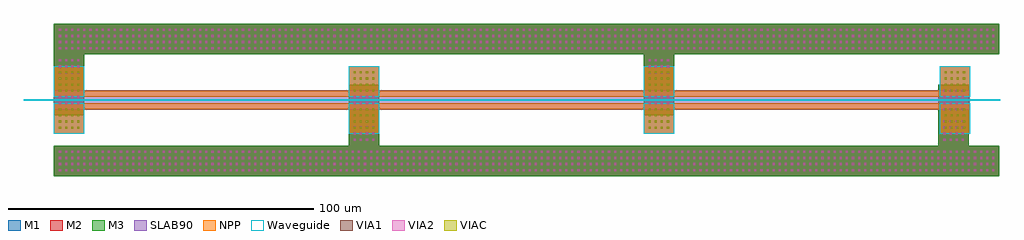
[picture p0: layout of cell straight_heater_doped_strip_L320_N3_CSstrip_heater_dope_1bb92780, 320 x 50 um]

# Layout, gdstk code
import gdstk
lib = gdstk.Library(unit=1e-6, precision=1e-09)
def R(c, l, rs):  # rectangles x0, y0, x1, y1
    for r in rs: c.add(gdstk.rectangle(r[:2], r[2:], *l))
def A(c, l, x, y, w, h, nx, ny, dx, dy):  # array of equal rectangles
    R(c, l, [(x+i*dx, y+j*dy, x+i*dx+w, y+j*dy+h) for i in range(nx) for j in range(ny)])
def P(c, l, *ps):  # polygons
    for p in ps: c.add(gdstk.Polygon(p, *l))
Waveguide = (1, 0)
SLAB90 = (3, 0)
NPP = (24, 0)
VIAC = (40, 0)
M1 = (41, 0)
VIA2 = (43, 0)
VIA1 = (44, 0)
M2 = (45, 0)
M3 = (49, 0)

straight_heater_doped_st = lib.new_cell('straight_heater_doped_strip_L320_N3_CSstrip_heater_dope_1bb92780')
A(straight_heater_doped_st, Waveguide, -0.2, -11.05, 10, 10, 3, 2, 96.667, 12.1)
R(straight_heater_doped_st, Waveguide, [(290.201,-11.05,300.201,-1.05), (-10,-0.25,310,0.25), (290.201,1.05,300.201,11.05)])
R(straight_heater_doped_st, SLAB90, [(0,-3.25,300,3.25)])
P(straight_heater_doped_st, NPP, [(-0.2,-11.05),(-0.2,-1.05),(300.201,-1.05),(300.201,-11.05),(290.201,-11.05),(290.201,-3.05),(203.134,-3.05),(203.134,-11.05),(193.134,-11.05),(193.134,-3.05),(106.467,-3.05),(106.467,-11.05),(96.467,-11.05),(96.467,-3.05),(9.8,-3.05),(9.8,-11.05)],
  [(-0.2,1.05),(-0.2,11.05),(9.8,11.05),(9.8,3.05),(96.467,3.05),(96.467,11.05),(106.467,11.05),(106.467,3.05),(193.134,3.05),(193.134,11.05),(203.134,11.05),(203.134,3.05),(290.201,3.05),(290.201,11.05),(300.201,11.05),(300.201,1.05)])
A(straight_heater_doped_st, VIAC, 1.45, -9.4, 0.7, 0.7, 4, 4, 2, 2)
A(straight_heater_doped_st, VIAC, 98.117, -9.4, 0.7, 0.7, 4, 4, 2, 2)
A(straight_heater_doped_st, VIAC, 194.784, -9.4, 0.7, 0.7, 4, 4, 2, 2)
A(straight_heater_doped_st, VIAC, 291.851, -9.4, 0.7, 0.7, 4, 4, 2, 2)
A(straight_heater_doped_st, VIAC, 1.45, 2.7, 0.7, 0.7, 4, 4, 2, 2)
A(straight_heater_doped_st, VIAC, 98.117, 2.7, 0.7, 0.7, 4, 4, 2, 2)
A(straight_heater_doped_st, VIAC, 194.784, 2.7, 0.7, 0.7, 4, 4, 2, 2)
A(straight_heater_doped_st, VIAC, 291.851, 2.7, 0.7, 0.7, 4, 4, 2, 2)
P(straight_heater_doped_st, M1, [(-0.2,-25),(-0.2,-15),(96.467,-15),(96.467,11.05),(106.467,11.05),(106.467,-15),(289.801,-15),(289.801,5),(290.201,5),(290.201,11.05),(300.201,11.05),(300.201,1.05),(299.801,1.05),(299.801,-1.05),(300.201,-1.05),(300.201,-11.05),(299.801,-11.05),(299.801,-15),(309.8,-15),(309.8,-25)],
  [(-0.2,-11.05),(-0.2,25),(309.8,25),(309.8,15),(203.134,15),(203.134,-11.05),(193.134,-11.05),(193.134,15),(9.8,15),(9.8,-11.05)])
A(straight_heater_doped_st, VIA2, 1.45, -23.35, 0.7, 0.7, 154, 4, 2, 2)
A(straight_heater_doped_st, VIA2, 98.117, -13.35, 0.7, 0.7, 4, 4, 2, 2)
A(straight_heater_doped_st, VIA2, 291.451, -13.35, 0.7, 0.7, 4, 4, 2, 2)
A(straight_heater_doped_st, VIA2, 1.45, -3.35, 0.7, 0.7, 4, 4, 2, 2)
A(straight_heater_doped_st, VIA2, 98.117, -3.35, 0.7, 0.7, 4, 4, 2, 2)
A(straight_heater_doped_st, VIA2, 194.784, -3.35, 0.7, 0.7, 4, 4, 2, 2)
A(straight_heater_doped_st, VIA2, 291.451, -3.35, 0.7, 0.7, 4, 4, 2, 2)
A(straight_heater_doped_st, VIA2, 1.45, 6.65, 0.7, 0.7, 4, 4, 2, 2)
A(straight_heater_doped_st, VIA2, 194.784, 6.65, 0.7, 0.7, 4, 4, 2, 2)
A(straight_heater_doped_st, VIA2, 1.45, 16.65, 0.7, 0.7, 154, 4, 2, 2)
A(straight_heater_doped_st, VIA1, 1.45, -23.35, 0.7, 0.7, 154, 4, 2, 2)
A(straight_heater_doped_st, VIA1, 98.117, -13.35, 0.7, 0.7, 4, 4, 2, 2)
A(straight_heater_doped_st, VIA1, 291.451, -13.35, 0.7, 0.7, 4, 4, 2, 2)
A(straight_heater_doped_st, VIA1, 1.45, -3.35, 0.7, 0.7, 4, 4, 2, 2)
A(straight_heater_doped_st, VIA1, 98.117, -3.35, 0.7, 0.7, 4, 4, 2, 2)
A(straight_heater_doped_st, VIA1, 194.784, -3.35, 0.7, 0.7, 4, 4, 2, 2)
A(straight_heater_doped_st, VIA1, 291.451, -3.35, 0.7, 0.7, 4, 4, 2, 2)
A(straight_heater_doped_st, VIA1, 1.45, 6.65, 0.7, 0.7, 4, 4, 2, 2)
A(straight_heater_doped_st, VIA1, 194.784, 6.65, 0.7, 0.7, 4, 4, 2, 2)
A(straight_heater_doped_st, VIA1, 1.45, 16.65, 0.7, 0.7, 154, 4, 2, 2)
P(straight_heater_doped_st, M2, [(-0.2,-25),(-0.2,-15),(96.467,-15),(96.467,5),(106.467,5),(106.467,-15),(289.801,-15),(289.801,5),(299.801,5),(299.801,-15),(309.8,-15),(309.8,-25)],
  [(-0.2,-5),(-0.2,25),(309.8,25),(309.8,15),(203.134,15),(203.134,-5),(193.134,-5),(193.134,15),(9.8,15),(9.8,-5)])
P(straight_heater_doped_st, M3, [(-0.2,-25),(-0.2,-15),(96.467,-15),(96.467,5),(106.467,5),(106.467,-15),(289.801,-15),(289.801,5),(299.801,5),(299.801,-15),(309.8,-15),(309.8,-25)],
  [(-0.2,-5),(-0.2,25),(309.8,25),(309.8,15),(203.134,15),(203.134,-5),(193.134,-5),(193.134,15),(9.8,15),(9.8,-5)])

lib.write_gds('straight_heater_doped_strip_L320_N3_CSstrip_heater_dope_1bb92780.gds')
